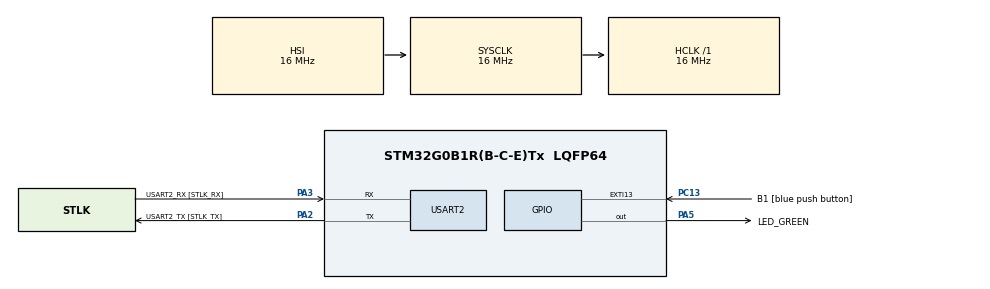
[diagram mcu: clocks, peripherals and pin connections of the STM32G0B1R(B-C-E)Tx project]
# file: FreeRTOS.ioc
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Dma.Request0=USART2_RX
Dma.Request1=USART2_TX
Dma.USART2_RX.0.Direction=DMA_PERIPH_TO_MEMORY
Dma.USART2_RX.0.EventEnable=DISABLE
Dma.USART2_RX.0.Instance=DMA1_Channel1
Dma.USART2_RX.0.MemDataAlignment=DMA_MDATAALIGN_BYTE
Dma.USART2_RX.0.MemInc=DMA_MINC_ENABLE
Dma.USART2_RX.0.Mode=DMA_NORMAL
Dma.USART2_RX.0.PeriphDataAlignment=DMA_PDATAALIGN_BYTE
Dma.USART2_RX.0.PeriphInc=DMA_PINC_DISABLE
Dma.USART2_RX.0.Polarity=HAL_DMAMUX_REQ_GEN_RISING
Dma.USART2_RX.0.Priority=DMA_PRIORITY_LOW
Dma.USART2_RX.0.RequestNumber=1
Dma.USART2_RX.0.SignalID=NONE
Dma.USART2_RX.0.SyncEnable=DISABLE
Dma.USART2_RX.0.SyncPolarity=HAL_DMAMUX_SYNC_NO_EVENT
Dma.USART2_RX.0.SyncRequestNumber=1
Dma.USART2_RX.0.SyncSignalID=NONE
Dma.USART2_TX.1.Direction=DMA_MEMORY_TO_PERIPH
Dma.USART2_TX.1.EventEnable=DISABLE
Dma.USART2_TX.1.Instance=DMA1_Channel2
Dma.USART2_TX.1.MemDataAlignment=DMA_MDATAALIGN_BYTE
Dma.USART2_TX.1.MemInc=DMA_MINC_ENABLE
Dma.USART2_TX.1.Mode=DMA_NORMAL
Dma.USART2_TX.1.PeriphDataAlignment=DMA_PDATAALIGN_BYTE
Dma.USART2_TX.1.PeriphInc=DMA_PINC_DISABLE
Dma.USART2_TX.1.Polarity=HAL_DMAMUX_REQ_GEN_RISING
Dma.USART2_TX.1.Priority=DMA_PRIORITY_LOW
Dma.USART2_TX.1.RequestNumber=1
Dma.USART2_TX.1.SignalID=NONE
Dma.USART2_TX.1.SyncEnable=DISABLE
Dma.USART2_TX.1.SyncPolarity=HAL_DMAMUX_SYNC_NO_EVENT
Dma.USART2_TX.1.SyncRequestNumber=1
Dma.USART2_TX.1.SyncSignalID=NONE
FREERTOS.BinarySemaphores01=BinSempUART2,Dynamic,NULL,Available
FREERTOS.Queues01=dataADC,10,uint16_t,0,Dynamic,NULL,NULL;dataProcess,3,float,0,Dynamic,NULL,NULL
FREERTOS.Tasks01=UARTcommunicati,8,128,UARTcomFunct,Default,NULL,Dynamic,NULL,NULL;readSensor,24,128,readSensorFunct,Default,NULL,Dynamic,NULL,NULL;dataProcessing,32,128,dataProcessingFunct,Default,NULL,Dynamic,NULL,NULL
FREERTOS.configCHECK_FOR_STACK_OVERFLOW=1
FREERTOS.configUSE_NEWLIB_REENTRANT=1
Mcu.Family=STM32G0
Mcu.Name=STM32G0B1R(B-C-E)Tx
Mcu.Package=LQFP64
NVIC.DMA1_Channel1_IRQn=true\:3\:0\:false\:false\:true\:true\:false\:true\:true
NVIC.DMA1_Channel2_3_IRQn=true\:3\:0\:false\:false\:true\:true\:false\:true\:true
NVIC.TIM6_DAC_LPTIM1_IRQn=true\:3\:0\:false\:false\:true\:false\:false\:true\:true
NVIC.TimeBase=TIM6_DAC_LPTIM1_IRQn
NVIC.TimeBaseIP=TIM6
NVIC.USART2_LPUART2_IRQn=true\:3\:0\:false\:false\:true\:true\:true\:true\:true
PA13.GPIO_Label=TMS
PA13.Mode=Serial_Wire
PA13.Signal=SYS_SWDIO
PA14-BOOT0.GPIO_Label=TCK
PA14-BOOT0.Mode=Serial_Wire
PA14-BOOT0.Signal=SYS_SWCLK
PA2.GPIO_Label=USART2_TX [STLK_TX]
PA2.Mode=Asynchronous
PA2.Signal=USART2_TX
PA3.GPIO_Label=USART2_RX [STLK_RX]
PA3.Mode=Asynchronous
PA3.Signal=USART2_RX
PA5.GPIO_Label=LED_GREEN
PA5.GPIO_Speed=GPIO_SPEED_FREQ_HIGH
PA5.Signal=GPIO_Output
PC13.GPIO_Label=B1 [blue push button]
PC13.Signal=GPXTI13
PC14-OSC32_IN\ (PC14).Mode=LSE-External-Oscillator
PC14-OSC32_IN\ (PC14).Signal=RCC_OSC32_IN
PC15-OSC32_OUT\ (PC15).Mode=LSE-External-Oscillator
PC15-OSC32_OUT\ (PC15).Signal=RCC_OSC32_OUT
PF0-OSC_IN\ (PF0).GPIO_Label=MCO
PF0-OSC_IN\ (PF0).Mode=HSE-External-Clock-Source
PF0-OSC_IN\ (PF0).Signal=RCC_OSC_IN
ProjectManager.HeapSize=0x200
ProjectManager.StackSize=0x400
ProjectManager.TargetToolchain=STM32CubeIDE
RCC.AHBFreq_Value=16000000
RCC.CortexFreq_Value=16000000
RCC.EXTERNAL_CLOCK_VALUE=12288000
RCC.HCLKFreq_Value=16000000
RCC.HSE_VALUE=8000000
RCC.HSI48_VALUE=48000000
RCC.HSI_VALUE=16000000
RCC.SYSCLKFreq_VALUE=16000000
RCC.USBFreq_Value=48000000
RCC.VCOOutputFreq_Value=128000000
USART2.VirtualMode-Asynchronous=VM_ASYNC
VP_FREERTOS_VS_CMSIS_V2.Mode=CMSIS_V2
VP_SYS_VS_DBSignals.Mode=DisableDeadBatterySignals
VP_SYS_VS_tim6.Mode=TIM6
board=NUCLEO-G0B1RE

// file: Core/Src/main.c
/* USER CODE BEGIN Header */
/**
  ******************************************************************************
  * @file           : main.c
  * @brief          : Main program body
  ******************************************************************************
  * @attention
  *
  * Copyright (c) 2026 STMicroelectronics.
  * All rights reserved.
  *
  * This software is licensed under terms that can be found in the LICENSE file
  * in the root directory of this software component.
  * If no LICENSE file comes with this software, it is provided AS-IS.
  *
  ******************************************************************************
  */
/* USER CODE END Header */
#include "main.h"
#include "cmsis_os.h"

/* USER CODE BEGIN Includes */
#include <stdio.h>
#include <string.h>
/* USER CODE END Includes */

UART_HandleTypeDef huart2;
DMA_HandleTypeDef hdma_usart2_rx;
DMA_HandleTypeDef hdma_usart2_tx;

/* Definitions for UARTcommunicati */
osThreadId_t UARTcommunicatiHandle;
const osThreadAttr_t UARTcommunicati_attributes = {
  .name = "UARTcommunicati",
  .priority = (osPriority_t) osPriorityLow,
  .stack_size = 128 * 4
};
/* Definitions for readSensor */
osThreadId_t readSensorHandle;
const osThreadAttr_t readSensor_attributes = {
  .name = "readSensor",
  .priority = (osPriority_t) osPriorityNormal,
  .stack_size = 128 * 4
};
/* Definitions for dataProcessing */
osThreadId_t dataProcessingHandle;
const osThreadAttr_t dataProcessing_attributes = {
  .name = "dataProcessing",
  .priority = (osPriority_t) osPriorityAboveNormal,
  .stack_size = 128 * 4
};
/* Definitions for dataADC */
osMessageQueueId_t dataADCHandle;
const osMessageQueueAttr_t dataADC_attributes = {
  .name = "dataADC"
};
/* Definitions for dataProcess */
osMessageQueueId_t dataProcessHandle;
const osMessageQueueAttr_t dataProcess_attributes = {
  .name = "dataProcess"
};
/* Definitions for BinSempUART2 */
osSemaphoreId_t BinSempUART2Handle;
const osSemaphoreAttr_t BinSempUART2_attributes = {
  .name = "BinSempUART2"
};

void SystemClock_Config(void);
static void MX_GPIO_Init(void);
static void MX_DMA_Init(void);
static void MX_USART2_UART_Init(void);
void UARTcomFunct(void *argument);
void readSensorFunct(void *argument);
void dataProcessingFunct(void *argument);

int main(void)
{

  /* MCU Configuration--------------------------------------------------------*/

  /* Reset of all peripherals, Initializes the Flash interface and the Systick. */
  HAL_Init();

  /* Configure the system clock */
  SystemClock_Config();

  /* Initialize all configured peripherals */
  MX_GPIO_Init();
  MX_DMA_Init();
  MX_USART2_UART_Init();

  /* Init scheduler */
  osKernelInitialize();

  /* Create the semaphores(s) */
  /* creation of BinSempUART2 */
  BinSempUART2Handle = osSemaphoreNew(1, 1, &BinSempUART2_attributes);

  /* Create the queue(s) */
  /* creation of dataADC */
  dataADCHandle = osMessageQueueNew (10, sizeof(uint16_t), &dataADC_attributes);

  /* creation of dataProcess */
  dataProcessHandle = osMessageQueueNew (3, sizeof(float), &dataProcess_attributes);

  /* Create the thread(s) */
  /* creation of UARTcommunicati */
  UARTcommunicatiHandle = osThreadNew(UARTcomFunct, NULL, &UARTcommunicati_attributes);

  /* creation of readSensor */
  readSensorHandle = osThreadNew(readSensorFunct, NULL, &readSensor_attributes);

  /* creation of dataProcessing */
  dataProcessingHandle = osThreadNew(dataProcessingFunct, NULL, &dataProcessing_attributes);

  /* Start scheduler */
  osKernelStart();

  /* We should never get here as control is now taken by the scheduler */

  /* Infinite loop */
  while (1)
  {

  }
}

void SystemClock_Config(void)
{
  RCC_OscInitTypeDef RCC_OscInitStruct = {0};
  RCC_ClkInitTypeDef RCC_ClkInitStruct = {0};

  /** Configure the main internal regulator output voltage
  */
  HAL_PWREx_ControlVoltageScaling(PWR_REGULATOR_VOLTAGE_SCALE1);

  /** Initializes the RCC Oscillators according to the specified parameters
  * in the RCC_OscInitTypeDef structure.
  */
  RCC_OscInitStruct.OscillatorType = RCC_OSCILLATORTYPE_HSI;
  RCC_OscInitStruct.HSIState = RCC_HSI_ON;
  RCC_OscInitStruct.HSIDiv = RCC_HSI_DIV1;
  RCC_OscInitStruct.HSICalibrationValue = RCC_HSICALIBRATION_DEFAULT;
  RCC_OscInitStruct.PLL.PLLState = RCC_PLL_NONE;
  if (HAL_RCC_OscConfig(&RCC_OscInitStruct) != HAL_OK)
  {
    Error_Handler();
  }

  /** Initializes the CPU, AHB and APB buses clocks
  */
  RCC_ClkInitStruct.ClockType = RCC_CLOCKTYPE_HCLK|RCC_CLOCKTYPE_SYSCLK
                              |RCC_CLOCKTYPE_PCLK1;
  RCC_ClkInitStruct.SYSCLKSource = RCC_SYSCLKSOURCE_HSI;
  RCC_ClkInitStruct.AHBCLKDivider = RCC_SYSCLK_DIV1;
  RCC_ClkInitStruct.APB1CLKDivider = RCC_HCLK_DIV1;

  if (HAL_RCC_ClockConfig(&RCC_ClkInitStruct, FLASH_LATENCY_0) != HAL_OK)
  {
    Error_Handler();
  }
}

static void MX_USART2_UART_Init(void)
{

  huart2.Instance = USART2;
  huart2.Init.BaudRate = 115200;
  huart2.Init.WordLength = UART_WORDLENGTH_8B;
  huart2.Init.StopBits = UART_STOPBITS_1;
  huart2.Init.Parity = UART_PARITY_NONE;
  huart2.Init.Mode = UART_MODE_TX_RX;
  huart2.Init.HwFlowCtl = UART_HWCONTROL_NONE;
  huart2.Init.OverSampling = UART_OVERSAMPLING_16;
  huart2.Init.OneBitSampling = UART_ONE_BIT_SAMPLE_DISABLE;
  huart2.Init.ClockPrescaler = UART_PRESCALER_DIV1;
  huart2.AdvancedInit.AdvFeatureInit = UART_ADVFEATURE_NO_INIT;
  if (HAL_UART_Init(&huart2) != HAL_OK)
  {
    Error_Handler();
  }
  if (HAL_UARTEx_SetTxFifoThreshold(&huart2, UART_TXFIFO_THRESHOLD_1_8) != HAL_OK)
  {
    Error_Handler();
  }
  if (HAL_UARTEx_SetRxFifoThreshold(&huart2, UART_RXFIFO_THRESHOLD_1_8) != HAL_OK)
  {
    Error_Handler();
  }
  if (HAL_UARTEx_DisableFifoMode(&huart2) != HAL_OK)
  {
    Error_Handler();
  }

}

static void MX_DMA_Init(void)
{

  /* DMA controller clock enable */
  __HAL_RCC_DMA1_CLK_ENABLE();

  /* DMA interrupt init */
  /* DMA1_Channel1_IRQn interrupt configuration */
  HAL_NVIC_SetPriority(DMA1_Channel1_IRQn, 3, 0);
  HAL_NVIC_EnableIRQ(DMA1_Channel1_IRQn);
  /* DMA1_Channel2_3_IRQn interrupt configuration */
  HAL_NVIC_SetPriority(DMA1_Channel2_3_IRQn, 3, 0);
  HAL_NVIC_EnableIRQ(DMA1_Channel2_3_IRQn);

}

static void MX_GPIO_Init(void)
{
  GPIO_InitTypeDef GPIO_InitStruct = {0};

  /* GPIO Ports Clock Enable */
  __HAL_RCC_GPIOC_CLK_ENABLE();
  __HAL_RCC_GPIOF_CLK_ENABLE();
  __HAL_RCC_GPIOA_CLK_ENABLE();

  /*Configure GPIO pin Output Level */
  HAL_GPIO_WritePin(LED_GREEN_GPIO_Port, LED_GREEN_Pin, GPIO_PIN_RESET);

  /*Configure GPIO pin : B1_Pin */
  GPIO_InitStruct.Pin = B1_Pin;
  GPIO_InitStruct.Mode = GPIO_MODE_IT_RISING;
  GPIO_InitStruct.Pull = GPIO_NOPULL;
  HAL_GPIO_Init(B1_GPIO_Port, &GPIO_InitStruct);

  /*Configure GPIO pin : LED_GREEN_Pin */
  GPIO_InitStruct.Pin = LED_GREEN_Pin;
  GPIO_InitStruct.Mode = GPIO_MODE_OUTPUT_PP;
  GPIO_InitStruct.Pull = GPIO_NOPULL;
  GPIO_InitStruct.Speed = GPIO_SPEED_FREQ_HIGH;
  HAL_GPIO_Init(LED_GREEN_GPIO_Port, &GPIO_InitStruct);

}

/* USER CODE BEGIN 4 */

void HAL_UART_TxCpltCallback(UART_HandleTypeDef *huart)
{
    if (huart->Instance == USART2)
    {
        osSemaphoreRelease(BinSempUART2Handle);
    }
}

/* USER CODE END 4 */

void UARTcomFunct(void *argument)
{
  /* USER CODE BEGIN 5 */
	float data = 0;
	static char msg[50];
  /* Infinite loop */
  for(;;)
  {
	  osMessageQueueGet(dataProcessHandle, &data, NULL, osWaitForever);
	  osSemaphoreAcquire(BinSempUART2Handle, osWaitForever);

	  snprintf(msg, sizeof(msg), "Sensor Value = %d\r\n", (int)data);
	  HAL_UART_Transmit_DMA(&huart2, (uint8_t*)msg, strlen(msg));
  }
  /* USER CODE END 5 */
}

void readSensorFunct(void *argument)
{
  /* USER CODE BEGIN readSensorFunct */
	uint16_t dataADC[10] = {4,6,8,5,7,
							4,4,5,6,8};
	uint16_t countDataError = 0;
	uint32_t tick = osKernelGetTickCount();

  /* Infinite loop */
  for(;;)
  {
	  for (uint8_t var = 0; var < 10; var++) {
		  if(osMessageQueuePut (dataADCHandle, &dataADC[var], 0, 0) != osOK)
			  countDataError++;

		  tick += 100;
		  osDelayUntil(tick);
	  }

  }
  /* USER CODE END readSensorFunct */
}

void dataProcessingFunct(void *argument)
{
  /* USER CODE BEGIN dataProcessingFunct */

	uint16_t dataADC[10] = {0};

	float sensor = 0;

  /* Infinite loop */
  for(;;)
  {
	  sensor = 0;
	  for (uint8_t var = 0; var < 10; var++) {
		  osMessageQueueGet(dataADCHandle, &dataADC[var], NULL, osWaitForever);
		  sensor += (float) (dataADC[var]);
	  }
	  sensor /= 10;
	  osMessageQueuePut(dataProcessHandle, &sensor, 0, osWaitForever);
  }
  /* USER CODE END dataProcessingFunct */
}

void HAL_TIM_PeriodElapsedCallback(TIM_HandleTypeDef *htim)
{
  if (htim->Instance == TIM6)
  {
    HAL_IncTick();
  }
}

void Error_Handler(void)
{
  __disable_irq();
  while (1)
  {
  }
}
